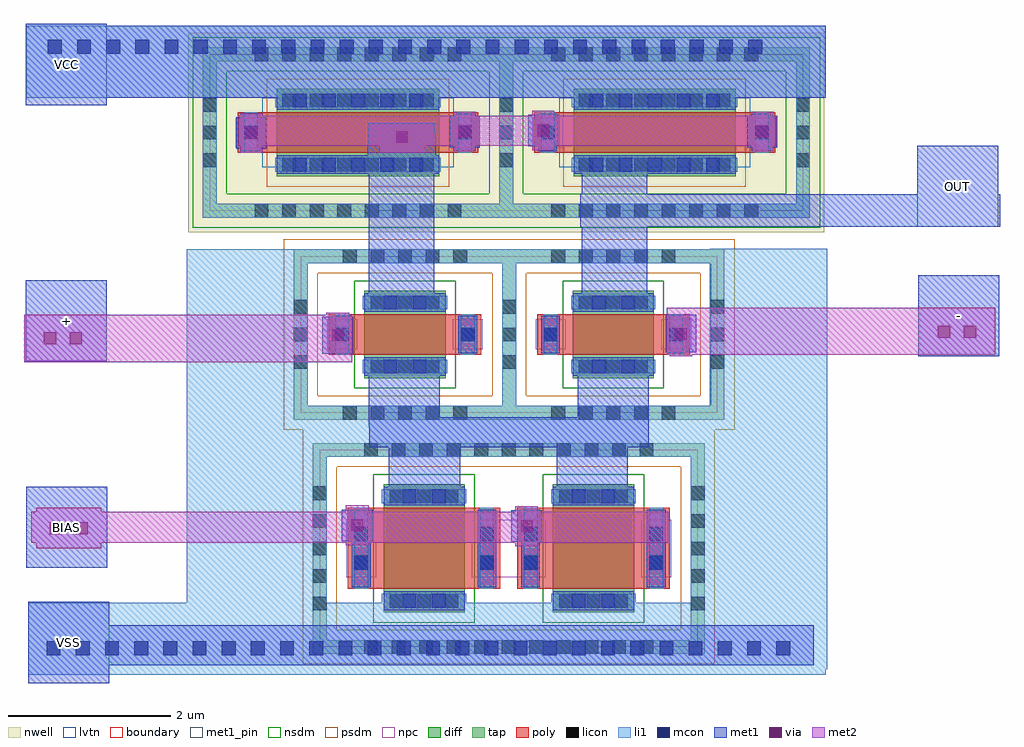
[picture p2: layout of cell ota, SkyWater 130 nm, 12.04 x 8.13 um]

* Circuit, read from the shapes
.subckt ota + - BIAS OUT VCC VSS
XM1 sky130_fd_pr__nfet_01v8_FGWQMQ_0/D + sky130_fd_pr__nfet_01v8_XETRKN_4/D0 VSS sky130_fd_pr__nfet_01v8 w=1 l=0.5
XM2 sky130_fd_pr__nfet_01v8_XETRKN_4/D0 BIAS VSS VSS sky130_fd_pr__nfet_01v8 w=1 l=1 m=2
XM3 OUT - sky130_fd_pr__nfet_01v8_XETRKN_4/D0 VSS sky130_fd_pr__nfet_01v8 w=1 l=0.5
XM4 VCC sky130_fd_pr__nfet_01v8_FGWQMQ_0/D sky130_fd_pr__nfet_01v8_FGWQMQ_0/D VCC sky130_fd_pr__pfet_01v8_lvt w=2 l=0.5
XM5 VCC sky130_fd_pr__nfet_01v8_FGWQMQ_0/D OUT VCC sky130_fd_pr__pfet_01v8_lvt w=2 l=0.5
.ends

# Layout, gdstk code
from math import pi, radians
import gdstk
lib = gdstk.Library(unit=1e-6, precision=1e-09)
def R(c, l, rs):  # rectangles x0, y0, x1, y1
    for r in rs: c.add(gdstk.rectangle(r[:2], r[2:], *l))
def A(c, l, x, y, w, h, nx, ny, dx, dy):  # array of equal rectangles
    R(c, l, [(x+i*dx, y+j*dy, x+i*dx+w, y+j*dy+h) for i in range(nx) for j in range(ny)])
nwell = (64, 20)
diff = (65, 20)
tap = (65, 44)
poly = (66, 20)
licon = (66, 44)
li1 = (67, 20)
mcon = (67, 44)
met1_pin = (68, 16)
met1 = (68, 20)
via = (68, 44)
met2 = (69, 20)
nsdm = (93, 44)
psdm = (94, 20)
npc = (95, 20)
lvtn = (125, 44)
boundary = (235, 4)

sky130_fd_pr__nfet_01v8_ = lib.new_cell('sky130_fd_pr__nfet_01v8_FGWQMQ')
R(sky130_fd_pr__nfet_01v8_, diff, [(-0.54,-0.5,0.54,0.5)])
R(sky130_fd_pr__nfet_01v8_, tap, [(-1.05,-1.37,1.05,-1.2), (-1.05,-1.2,-0.88,1.2), (0.88,-1.2,1.05,1.2), (-1.05,1.2,1.05,1.37)])
R(sky130_fd_pr__nfet_01v8_, poly, [(-0.25,-0.94,0.25,0.94)])
A(sky130_fd_pr__nfet_01v8_, licon, -0.425, -1.37, 0.17, 0.17, 3, 2, 0.34, 2.57)
A(sky130_fd_pr__nfet_01v8_, licon, -1.05, -0.765, 0.17, 0.17, 1, 5, 0, 0.34)
A(sky130_fd_pr__nfet_01v8_, licon, 0.88, -0.765, 0.17, 0.17, 1, 5, 0, 0.34)
A(sky130_fd_pr__nfet_01v8_, licon, -0.48, -0.425, 0.17, 0.17, 1, 3, 0, 0.34)
A(sky130_fd_pr__nfet_01v8_, licon, 0.31, -0.425, 0.17, 0.17, 1, 3, 0, 0.34)
R(sky130_fd_pr__nfet_01v8_, licon, [(-0.085,-0.86,0.085,-0.69), (-0.085,0.69,0.085,0.86)])
R(sky130_fd_pr__nfet_01v8_, li1, [(-1.05,-1.37,1.05,-1.2), (-1.05,-1.2,-0.88,1.2), (0.88,-1.2,1.05,1.2), (-0.25,-0.86,0.25,-0.69), (-0.48,-0.52,-0.31,0.52), (0.31,-0.52,0.48,0.52), (-0.25,0.69,0.25,0.86), (-1.05,1.2,1.05,1.37)])
R(sky130_fd_pr__nfet_01v8_, mcon, [(-0.085,-0.86,0.085,-0.69), (-0.48,-0.265,-0.31,-0.095), (0.31,-0.265,0.48,-0.095), (-0.48,0.095,-0.31,0.265), (0.31,0.095,0.48,0.265), (-0.085,0.69,0.085,0.86)])
R(sky130_fd_pr__nfet_01v8_, met1, [(-0.23,-0.89,0.23,-0.66), (-0.51,-0.5,-0.28,0.5), (0.28,-0.5,0.51,0.5), (-0.23,0.66,0.23,0.89)])
R(sky130_fd_pr__nfet_01v8_, nsdm, [(-0.665,-0.625,0.665,0.625)])
R(sky130_fd_pr__nfet_01v8_, psdm, [(-1.175,-1.495,1.175,-1.075), (-1.175,-1.075,-0.755,1.075), (0.755,-1.075,1.175,1.075), (-1.175,1.075,1.175,1.495)])
R(sky130_fd_pr__nfet_01v8_, npc, [(-0.185,-0.96,0.185,-0.59), (-0.185,0.59,0.185,0.96)])
R(sky130_fd_pr__nfet_01v8_, boundary, [(-0.965,-1.285,0.965,1.285)])
sky130_fd_pr__nfet_01v8_.add(gdstk.Label('G', (0,0.775), layer=67, texttype=5))
sky130_fd_pr__nfet_01v8_.add(gdstk.Label('S', (0.395,0), layer=67, texttype=5))
sky130_fd_pr__nfet_01v8_.add(gdstk.Label('D', (-0.395,0), layer=67, texttype=5))
sky130_fd_pr__nfet_01v8_.add(gdstk.Label('B', (0,-1.285), layer=67, texttype=5))

sky130_fd_pr__pfet_01v8_ = lib.new_cell('sky130_fd_pr__pfet_01v8_lvt_7M33HH')
R(sky130_fd_pr__pfet_01v8_, nwell, [(-1.23,-2.095,1.23,2.095)])
R(sky130_fd_pr__pfet_01v8_, diff, [(-0.54,-1,0.54,1)])
R(sky130_fd_pr__pfet_01v8_, tap, [(-1.05,-1.915,1.05,-1.745), (-1.05,-1.745,-0.88,1.745), (0.88,-1.745,1.05,1.745), (-1.05,1.745,1.05,1.915)])
R(sky130_fd_pr__pfet_01v8_, poly, [(-0.25,-1.485,0.25,1.485)])
A(sky130_fd_pr__pfet_01v8_, licon, -0.425, -1.915, 0.17, 0.17, 3, 2, 0.34, 3.66)
A(sky130_fd_pr__pfet_01v8_, licon, -1.05, -1.275, 0.17, 0.17, 1, 8, 0, 0.34)
A(sky130_fd_pr__pfet_01v8_, licon, 0.88, -1.275, 0.17, 0.17, 1, 8, 0, 0.34)
A(sky130_fd_pr__pfet_01v8_, licon, -0.48, -0.935, 0.17, 0.17, 1, 6, 0, 0.34)
A(sky130_fd_pr__pfet_01v8_, licon, 0.31, -0.935, 0.17, 0.17, 1, 6, 0, 0.34)
R(sky130_fd_pr__pfet_01v8_, licon, [(-0.085,-1.405,0.085,-1.235), (-0.085,1.235,0.085,1.405)])
R(sky130_fd_pr__pfet_01v8_, li1, [(-1.05,-1.915,1.05,-1.745), (-1.05,-1.745,-0.88,1.745), (0.88,-1.745,1.05,1.745), (-0.25,-1.405,0.25,-1.235), (-0.48,-1.02,-0.31,1.02), (0.31,-1.02,0.48,1.02), (-0.25,1.235,0.25,1.405), (-1.05,1.745,1.05,1.915)])
A(sky130_fd_pr__pfet_01v8_, mcon, -0.48, -0.805, 0.17, 0.17, 1, 5, 0, 0.36)
A(sky130_fd_pr__pfet_01v8_, mcon, 0.31, -0.805, 0.17, 0.17, 1, 5, 0, 0.36)
R(sky130_fd_pr__pfet_01v8_, mcon, [(-0.085,-1.405,0.085,-1.235), (-0.085,1.235,0.085,1.405)])
R(sky130_fd_pr__pfet_01v8_, met1, [(-0.23,-1.435,0.23,-1.205), (-0.51,-1,-0.28,1), (0.28,-1,0.51,1), (-0.23,1.205,0.23,1.435)])
R(sky130_fd_pr__pfet_01v8_, nsdm, [(-1.175,-2.04,1.175,-1.62), (-1.175,-1.62,-0.755,1.62), (0.755,-1.62,1.175,1.62), (-1.175,1.62,1.175,2.04)])
R(sky130_fd_pr__pfet_01v8_, psdm, [(-0.665,-1.125,0.665,1.125)])
R(sky130_fd_pr__pfet_01v8_, npc, [(-0.185,-1.505,0.185,-1.135), (-0.185,1.135,0.185,1.505)])
R(sky130_fd_pr__pfet_01v8_, lvtn, [(-0.43,-1.18,0.43,1.18)])
R(sky130_fd_pr__pfet_01v8_, boundary, [(-0.965,-1.83,0.965,1.83)])
sky130_fd_pr__pfet_01v8_.add(gdstk.Label('G', (0,1.32), layer=67, texttype=5))
sky130_fd_pr__pfet_01v8_.add(gdstk.Label('S', (0.395,0), layer=67, texttype=5))
sky130_fd_pr__pfet_01v8_.add(gdstk.Label('D', (-0.395,0), layer=67, texttype=5))
sky130_fd_pr__pfet_01v8_.add(gdstk.Label('B', (0,-1.83), layer=67, texttype=5))

c_sky130_fd_pr__nfet_01v8_ = lib.new_cell('sky130_fd_pr__nfet_01v8_XETRKN')
R(c_sky130_fd_pr__nfet_01v8_, diff, [(-0.79,-1.545,0.79,-0.545), (-0.79,0.545,0.79,1.545)])
R(c_sky130_fd_pr__nfet_01v8_, tap, [(-1.3,-2.415,1.3,-2.245), (-1.3,-2.245,-1.13,2.245), (1.13,-2.245,1.3,2.245), (-1.3,2.245,1.3,2.415)])
R(c_sky130_fd_pr__nfet_01v8_, poly, [(-0.5,-1.985,0.5,-0.105), (-0.5,0.105,0.5,1.985)])
A(c_sky130_fd_pr__nfet_01v8_, licon, -0.765, -2.415, 0.17, 0.17, 5, 2, 0.34, 4.66)
A(c_sky130_fd_pr__nfet_01v8_, licon, -1.3, -1.785, 0.17, 0.17, 1, 11, 0, 0.34)
A(c_sky130_fd_pr__nfet_01v8_, licon, 1.13, -1.785, 0.17, 0.17, 1, 11, 0, 0.34)
A(c_sky130_fd_pr__nfet_01v8_, licon, -0.73, -1.47, 0.17, 0.17, 1, 3, 0, 0.34)
A(c_sky130_fd_pr__nfet_01v8_, licon, 0.56, -1.47, 0.17, 0.17, 1, 3, 0, 0.34)
A(c_sky130_fd_pr__nfet_01v8_, licon, -0.73, 0.62, 0.17, 0.17, 1, 3, 0, 0.34)
A(c_sky130_fd_pr__nfet_01v8_, licon, 0.56, 0.62, 0.17, 0.17, 1, 3, 0, 0.34)
R(c_sky130_fd_pr__nfet_01v8_, licon, [(-0.255,-1.905,-0.085,-1.735), (0.085,-1.905,0.255,-1.735), (-0.255,-0.355,-0.085,-0.185), (0.085,-0.355,0.255,-0.185), (-0.255,0.185,-0.085,0.355), (0.085,0.185,0.255,0.355), (-0.255,1.735,-0.085,1.905), (0.085,1.735,0.255,1.905)])
R(c_sky130_fd_pr__nfet_01v8_, li1, [(-1.3,-2.415,1.3,-2.245), (-1.3,-2.245,-1.13,2.245), (1.13,-2.245,1.3,2.245), (-0.5,-1.905,0.5,-1.735), (-0.73,-1.565,-0.56,-0.525), (0.56,-1.565,0.73,-0.525), (-0.5,-0.355,0.5,-0.185), (-0.5,0.185,0.5,0.355), (-0.73,0.525,-0.56,1.565), (0.56,0.525,0.73,1.565), (-0.5,1.735,0.5,1.905), (-1.3,2.245,1.3,2.415)])
R(c_sky130_fd_pr__nfet_01v8_, mcon, [(-0.265,-1.905,-0.095,-1.735), (0.095,-1.905,0.265,-1.735), (-0.73,-1.31,-0.56,-1.14), (0.56,-1.31,0.73,-1.14), (-0.73,-0.95,-0.56,-0.78), (0.56,-0.95,0.73,-0.78), (-0.265,-0.355,-0.095,-0.185), (0.095,-0.355,0.265,-0.185), (-0.265,0.185,-0.095,0.355), (0.095,0.185,0.265,0.355), (-0.73,0.78,-0.56,0.95), (0.56,0.78,0.73,0.95), (-0.73,1.14,-0.56,1.31), (0.56,1.14,0.73,1.31), (-0.265,1.735,-0.095,1.905), (0.095,1.735,0.265,1.905)])
R(c_sky130_fd_pr__nfet_01v8_, met1, [(-0.48,-1.935,0.48,-1.705), (-0.76,-1.545,-0.53,-0.545), (0.53,-1.545,0.76,-0.545), (-0.48,-0.385,0.48,-0.155), (-0.48,0.155,0.48,0.385), (-0.76,0.545,-0.53,1.545), (0.53,0.545,0.76,1.545), (-0.48,1.705,0.48,1.935)])
R(c_sky130_fd_pr__nfet_01v8_, nsdm, [(-0.915,-1.67,0.915,-0.42), (-0.915,0.42,0.915,1.67)])
R(c_sky130_fd_pr__nfet_01v8_, psdm, [(-1.425,-2.54,1.425,-2.12), (-1.425,-2.12,-1.005,2.12), (1.005,-2.12,1.425,2.12), (-1.425,2.12,1.425,2.54)])
R(c_sky130_fd_pr__nfet_01v8_, npc, [(-0.355,-2.005,0.355,-1.635), (-0.355,-0.455,0.355,0.455), (-0.355,1.635,0.355,2.005)])
R(c_sky130_fd_pr__nfet_01v8_, boundary, [(-1.215,-2.33,1.215,2.33)])
c_sky130_fd_pr__nfet_01v8_.add(gdstk.Label('G1', (0,1.82), layer=67, texttype=5))
c_sky130_fd_pr__nfet_01v8_.add(gdstk.Label('S1', (0.645,1.045), layer=67, texttype=5))
c_sky130_fd_pr__nfet_01v8_.add(gdstk.Label('D1', (-0.645,1.045), layer=67, texttype=5))
c_sky130_fd_pr__nfet_01v8_.add(gdstk.Label('G0', (0,-0.27), layer=67, texttype=5))
c_sky130_fd_pr__nfet_01v8_.add(gdstk.Label('S0', (0.645,-1.045), layer=67, texttype=5))
c_sky130_fd_pr__nfet_01v8_.add(gdstk.Label('D0', (-0.645,-1.045), layer=67, texttype=5))
c_sky130_fd_pr__nfet_01v8_.add(gdstk.Label('B', (0,-2.33), layer=67, texttype=5))

ota = lib.new_cell('ota')
R(ota, li1, [(6.01,-6.67,15.85,-6.6), (6.01,-6.6,15.87,-5.78), (7.97,-5.78,9.68,-3.89), (14.19,-5.78,15.87,-3.89), (7.97,-3.89,15.87,-3.42), (7.97,-3.42,9.68,-3.35), (14.19,-3.42,15.87,-3.35), (7.97,-3.35,9.45,-1.42), (14.42,-3.35,15.87,-1.41), (5.99,0.45,15.85,1.34)])
A(ota, mcon, 6.24, -6.425, 0.17, 0.17, 26, 1, 0.36, 0)
A(ota, mcon, 6.255, 0.995, 0.17, 0.17, 25, 1, 0.36, 0)
R(ota, met1_pin, [(6.01,-6.77,7.01,-5.77), (5.99,-5.35,6.99,-4.35), (5.98,-2.8,6.98,-1.8), (16.99,-2.74,17.99,-1.74), (16.98,-1.14,17.98,-0.14), (5.98,0.36,6.98,1.36)])
R(ota, met1, [(6.01,-6.77,7.01,-6.55), (6.01,-6.55,15.7,-6.06), (6.01,-6.06,7.01,-5.77), (5.99,-5.35,6.99,-4.35), (11.97,-5.03,12.35,-4.64), (9.88,-5.02,10.26,-4.63), (12.53,-4.55,13.41,-3.86), (10.46,-4.54,11.34,-3.86), (10.22,-3.86,13.67,-3.6), (10.21,-3.6,13.67,-3.49), (10.21,-3.49,11.09,-2.77), (12.79,-3.49,13.67,-2.77), (5.98,-2.8,6.98,-1.8), (16.99,-2.74,17.99,-1.74), (9.64,-2.71,10.02,-2.25), (13.875,-2.69,14.255,-2.23), (10.21,-2.17,11.02,-0.47), (12.84,-2.15,13.65,-1.14), (12.82,-1.14,18,-0.74), (12.84,-0.74,13.65,-0.27), (16.98,-0.74,17.98,-0.14), (10.21,-0.47,11.04,-0.26), (10.2,-0.26,11.04,0.02), (8.58,-0.18,8.95,0.21), (11.21,-0.16,11.58,0.23), (14.88,-0.16,15.25,0.23), (12.18,-0.15,12.55,0.24), (10.2,0.02,11.03,0.14), (5.98,0.36,6.98,0.45), (5.98,0.45,15.85,1.34), (5.98,1.34,6.98,1.36)])
R(ota, via, [(6.275,-4.935,6.425,-4.785), (6.595,-4.935,6.745,-4.785), (12.085,-4.91,12.235,-4.76), (9.995,-4.9,10.145,-4.75), (6.205,-2.59,6.355,-2.44), (6.525,-2.59,6.675,-2.44), (9.755,-2.555,9.905,-2.405), (13.99,-2.535,14.14,-2.385), (17.235,-2.51,17.385,-2.36), (17.555,-2.51,17.705,-2.36), (10.55,-0.105,10.7,0.045), (8.69,-0.06,8.84,0.09), (11.32,-0.04,11.47,0.11), (14.99,-0.04,15.14,0.11), (12.29,-0.03,12.44,0.12)])
R(ota, met2, [(6.11,-5.11,6.91,-5.04), (12.02,-5.08,12.3,-5.04), (9.93,-5.07,10.21,-5.04), (6.05,-5.04,13.91,-4.66), (6.11,-4.66,6.91,-4.61), (9.93,-4.66,10.21,-4.58), (12.02,-4.66,12.3,-4.59), (5.96,-2.81,10.01,-2.23), (13.925,-2.74,14.205,-2.72), (13.89,-2.72,17.94,-2.14), (9.69,-2.23,9.97,-2.2), (8.63,-0.23,8.9,-0.14), (10.34,-0.23,10.91,-0.14), (11.26,-0.21,11.53,-0.14), (14.93,-0.21,15.2,-0.14), (12.23,-0.2,12.5,-0.14), (8.61,-0.14,15.24,0.23), (8.63,0.23,8.9,0.26), (11.26,0.23,11.53,0.28), (12.23,0.23,12.5,0.29), (14.93,0.23,15.2,0.28)])
R(ota, psdm, [(9.4,-3.685,14.48,-3.645)])
ota.add(gdstk.Reference(sky130_fd_pr__nfet_01v8_, (10.66,-2.47), rotation=3*pi/2))
ota.add(gdstk.Reference(sky130_fd_pr__pfet_01v8_, (10.08,0.02), rotation=3*pi/2))
ota.add(gdstk.Reference(sky130_fd_pr__nfet_01v8_, (13.23,-2.47), rotation=3*pi/2))
ota.add(gdstk.Reference(sky130_fd_pr__pfet_01v8_, (13.74,0.02), rotation=3*pi/2))
ota.add(gdstk.Reference(c_sky130_fd_pr__nfet_01v8_, (11.94,-5.11), rotation=3*pi/2))
ota.add(gdstk.Label('+', (6.48,-2.3), layer=68, texttype=5))
ota.add(gdstk.Label('BIAS', (6.49,-4.85), layer=68, texttype=5))
ota.add(gdstk.Label('VSS', (6.51,-6.27), layer=68, texttype=5))
ota.add(gdstk.Label('-', (17.49,-2.24), layer=68, texttype=5))
ota.add(gdstk.Label('OUT', (17.48,-0.64), layer=68, texttype=5))
ota.add(gdstk.Label('VCC', (6.48,0.86), layer=68, texttype=5))

lib.write_gds('ota.gds')
